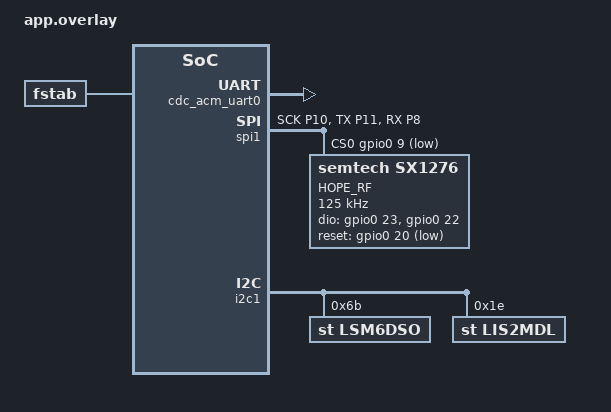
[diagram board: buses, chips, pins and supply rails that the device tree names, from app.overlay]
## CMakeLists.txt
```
cmake_minimum_required(VERSION 3.20.0)
set(BOARD rpi_pico)
find_package(Zephyr REQUIRED HINTS $ENV{ZEPHYR_BASE})
project(pleiades-zephyr)
target_sources(app PRIVATE src/main.c src/sensor.c src/lora_radio.c src/usb_serial.c)
```

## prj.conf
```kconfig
CONFIG_USB_DEVICE_STACK=y
CONFIG_USB_DEVICE_PRODUCT="Pleiades Flight Board"
CONFIG_USB_DEVICE_VID=0x0028

CONFIG_SERIAL=y
CONFIG_CONSOLE=y

CONFIG_UART_CONSOLE=y
CONFIG_UART_LINE_CTRL=y

CONFIG_SPI=y

CONFIG_LORA=y
CONFIG_LORA_SX127X=y

CONFIG_FLASH=y
CONFIG_FLASH_RPI_PICO=y
CONFIG_FLASH_MAP=y
CONFIG_FILE_SYSTEM=y
CONFIG_FILE_SYSTEM_LITTLEFS=y

CONFIG_I2C=y

CONFIG_SENSOR=y
CONFIG_LSM6DSO=y
CONFIG_LSM6DSO_ENABLE_TEMP=y
CONFIG_LIS2MDL=y

CONFIG_ZBUS=y

CONFIG_MAIN_STACK_SIZE=2048
CONFIG_SYSTEM_WORKQUEUE_STACK_SIZE=2048
CONFIG_HEAP_MEM_POOL_SIZE=16384
CONFIG_NEWLIB_LIBC=y
CONFIG_NEWLIB_LIBC_FLOAT_PRINTF=y
CONFIG_CBPRINTF_FP_SUPPORT=y

CONFIG_LOG=y
CONFIG_LOG_DEFAULT_LEVEL=3
CONFIG_DEBUG=y
CONFIG_DEBUG_THREAD_INFO=n
CONFIG_THREAD_ANALYZER_USE_PRINTK=n
CONFIG_THREAD_ANALYZER_AUTO=n
CONFIG_THREAD_ANALYZER_AUTO_INTERVAL=5
CONFIG_THREAD_ANALYZER=n

CONFIG_SHELL=y
CONFIG_FLASH_SHELL=y
CONFIG_FILE_SYSTEM_SHELL=y
CONFIG_LOG_BACKEND_FS=y
```

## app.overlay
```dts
/ {
	chosen {
		zephyr,shell-uart = &cdc_acm_uart0;
	};
};

&zephyr_udc0 {
	cdc_acm_uart0: cdc_acm_uart0 {
		compatible = "zephyr,cdc-acm-uart";
		label = "CDC_ACM_0";
	};
};

&spi1 {
	status = "okay";
	cs-gpios = <&gpio0 9 GPIO_ACTIVE_LOW>;
	pinctrl-0 = <&spi1_default>;
	pinctrl-names = "default";

	lora0: sx1276@0 {
		compatible = "semtech,sx1276";
		reg = <0>;
		spi-max-frequency = <125000>;
		dio-gpios = <&gpio0 23 (GPIO_PULL_DOWN | GPIO_ACTIVE_HIGH)>, <&gpio0 22 (GPIO_PULL_DOWN | GPIO_ACTIVE_HIGH)>;
		reset-gpios = <&gpio0 20 GPIO_ACTIVE_LOW>;
		power-amplifier-output = "pa-boost";
		label = "HOPE_RF";
	};
};

&pinctrl {
	spi1_default: spi1_default {
		group1 {
			pinmux = <SPI1_SCK_P10>, <SPI1_TX_P11>;
		};

		group2 {
			pinmux = <SPI1_RX_P8>;
			input-enable;
		};
	};
};

&i2c1 {
	status = "okay";
	pinctrl-0 = <&i2c1_default>;
	pinctrl-names = "default";

	lsm6dso0: lsm6dso0@6b {
		compatible = "st,lsm6dso";
		reg = <0x6b>;
		label = "LSM6DSO";
	};

	lis2mdl: lis2mdl@1e {
		compatible = "st,lis2mdl";
		reg = <0x1e>;
		label = "LIS2MDL";
	};
};

&pinctrl {
	i2c1_default: i2c1_default {
		group1 {
			pinmux = <I2C1_SCL_P3>, <I2C1_SDA_P2>;
		};
	};
};

&flash0 {
	reg = <0x10000000 DT_SIZE_M(16)>; // Defines 16 MB flash

	partitions {
		compatible = "fixed-partitions";
		#address-cells = <1>;
		#size-cells = <1>;

		/* Reserved memory for the second stage bootloader */
		second_stage_bootloader: partition@0 {
			label = "second_stage_bootloader";
			reg = <0x00000000 0x100>; // 256 bytes for bootloader
			read-only;
		};

		/* Code Partition */
		code_partition: partition@100 {
			label = "code_partition";
			reg = <0x100 (DT_SIZE_M(16) - DT_SIZE_M(15) - 0x100)>; // Code partition after bootloader
		};

		/* Storage Partition with littlefs */
		storage_partition: partition@f10000 {
			label = "storage";
			reg = <0xF10000 DT_SIZE_M(15)>; // 15 MB for storage starting at the last part
			compatible = "littlefs"; // Declares compatibility with littlefs
		};
	};
};

/ {
	fstab {
		compatible = "zephyr,fstab";

		lfs1: lfs1 {
			compatible = "zephyr,fstab,littlefs";
			mount-point = "/lfs";
			partition = <&storage_partition>;
			automount;
			read-size = <16>;
			prog-size = <16>;
			cache-size = <64>;
			lookahead-size = <32>;
			block-cycles = <512>;
		};
	};
};
```

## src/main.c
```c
#include <zephyr/kernel.h>
#include <zephyr/sys/printk.h>
#include <zephyr/logging/log.h>
#include <zephyr/shell/shell.h>
#include <zephyr/device.h>
#include <zephyr/drivers/flash.h>
#include <zephyr/zbus/zbus.h>
#include "usb_serial.h"
#include "lora_radio.h"
#include "sensor.h"
LOG_MODULE_REGISTER(main);

#define USB_STACK_SIZE 1024
#define LORA_STACK_SIZE 1024
#define SENSOR_STACK_SIZE 1024

K_THREAD_STACK_DEFINE(usb_stack_area, USB_STACK_SIZE);
K_THREAD_STACK_DEFINE(lora_stack_area, LORA_STACK_SIZE);
K_THREAD_STACK_DEFINE(sensor_stack_area, SENSOR_STACK_SIZE);

struct k_thread usb_thread_data;
struct k_thread lora_thread_data;
struct k_thread sensor_thread_data;

void main(void)
{
    printk("Starting main loop with threads...\n");

    k_thread_create(&usb_thread_data, usb_stack_area, K_THREAD_STACK_SIZEOF(usb_stack_area),
                    usb_serial_thread, NULL, NULL, NULL, 5, 0, K_NO_WAIT);

    k_thread_create(&lora_thread_data, lora_stack_area, K_THREAD_STACK_SIZEOF(lora_stack_area),
                    lora_radio_thread, NULL, NULL, NULL, 5, 0, K_NO_WAIT);

    k_thread_create(&sensor_thread_data, sensor_stack_area, K_THREAD_STACK_SIZEOF(sensor_stack_area),
                    sensor_thread, NULL, NULL, NULL, 5, 0, K_NO_WAIT);

    // while (true) {
    //     struct sensor_data sensor_data_channel_msg;
    //     zbus_chan_read(&sensor_data_chan, &sensor_data_channel_msg,K_MSEC(500));
    //     printk("Accel: %f %f %f\n", sensor_data_channel_msg.accel_x, sensor_data_channel_msg.accel_y, sensor_data_channel_msg.accel_z);
    //     printk("Gyro: %f %f %f\n", sensor_data_channel_msg.gyro_x, sensor_data_channel_msg.gyro_y, sensor_data_channel_msg.gyro_z);
    //     printk("Mag: %f %f %f\n", sensor_data_channel_msg.mag_x, sensor_data_channel_msg.mag_y, sensor_data_channel_msg.mag_z);
    //     printk("Temp: %f\n", sensor_data_channel_msg.temp);
    // }
}
```

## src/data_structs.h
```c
#ifndef DATA_STRUCTS_H
#define DATA_STRUCTS_H

#include <zephyr/zbus/zbus.h>

struct satellite_status {
    int reboot_count;
    bool face0;
    bool face1;
    bool face2;
    bool face3;
    bool face4;
};

struct sensor_data {
    float accel_x;
    float accel_y;
    float accel_z;
    float gyro_x;
    float gyro_y;
    float gyro_z;
    float mag_x;
    float mag_y;
    float mag_z;
    float temp;
};

#endif //DATA_STRUCTS_H
```

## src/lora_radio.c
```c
#include "lora_radio.h"
#include <stdio.h>
#include <string.h>
#include <zephyr/kernel.h>
#include <zephyr/drivers/lora.h>
#include <zephyr/logging/log.h>
#include <zephyr/zbus/zbus.h>
#include "data_structs.h"

static const struct device *lora_dev;

int enable_rx() {
    struct lora_modem_config config;
    config.frequency = 437400000;
    config.bandwidth = BW_125_KHZ;
    config.datarate = SF_8;
    config.preamble_len = 8;
    config.coding_rate = CR_4_5;
    config.tx_power = 4;
    config.iq_inverted = false;
    config.public_network = false;
    config.tx = false;

    const int ret = lora_config(lora_dev, &config);

    return ret;
}

int enable_tx() {
    struct lora_modem_config config;
    config.frequency = 437400000;
    config.bandwidth = BW_125_KHZ;
    config.datarate = SF_8;
    config.preamble_len = 8;
    config.coding_rate = CR_4_5;
    config.tx_power = 4;
    config.iq_inverted = false;
    config.public_network = false;
    config.tx = true;

    const int ret = lora_config(lora_dev, &config);
    return ret;
}

int lora_radio_init(void) {
    struct lora_modem_config config;
    lora_dev = DEVICE_DT_GET_ONE(semtech_sx1276);
    if (!device_is_ready(lora_dev)) {
        printk("LoRa device not ready\n");
        return -1;
    }

    int ret = enable_rx();
    printk("LoRa Radio Initialized\n");
    return ret;
}

void lora_receive_cb(const struct device *dev, uint8_t *data, uint16_t size,
                     int16_t rssi, int8_t snr) {
    ARG_UNUSED(dev);
    ARG_UNUSED(size);
    printk("LoRa RX RSSI: %d dBm, SNR: %d dB", rssi, snr);
    LOG_HEXDUMP_INF(data, size, "LoRa RX payload");
}


int lora_send_data(uint8_t *data, uint16_t size) {
    int ret;

    // Disable async receive callback before sending
    ret = lora_recv_async(lora_dev, NULL);
    if (ret < 0) {
        printk("Failed to disable LoRa async receive: %d\n", ret);
        return ret;
    }

    ret = enable_tx();
    if (ret < 0) {
        printk("Failed to enable TX mode: %d\n", ret);
        return ret;
    }

    ret = lora_send(lora_dev, data, size);
    if (ret < 0) {
        printk("Failed to send LoRa packet: %d\n", ret);
        return ret;
    }

    ret = enable_rx();
    if (ret < 0) {
        printk("Failed to enable RX mode: %d\n", ret);
        return ret;
    }

    ret = lora_recv_async(lora_dev, lora_receive_cb);
    if (ret < 0) {
        printk("Failed to reinitialize LoRa async receive: %d\n", ret);
        return ret;
    }

    printk("LoRa data sent successfully, RX mode restored\n");
    return 0;
}

void lora_radio_thread(void *p1, void *p2, void *p3) {
    int ret = lora_radio_init();
    if (ret != 0) {
        printk("Failed to initialize LoRa radio\n");
        return;
    }
    ret = lora_recv_async(lora_dev, lora_receive_cb);
}
```

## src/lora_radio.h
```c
#ifndef LORA_RADIO_H
#define LORA_RADIO_H

void lora_radio_thread(void *p1, void *p2, void *p3);

#endif // LORA_RADIO_H
```

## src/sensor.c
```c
#include <zephyr/drivers/sensor.h>
#include <zephyr/kernel.h>
#include <zephyr/zbus/zbus.h>
#include "data_structs.h"

static const struct device *lsm6dso_dev;
static const struct device *lis2mdl_dev;

ZBUS_CHAN_DEFINE(sensor_data_chan, struct sensor_data, NULL, NULL, ZBUS_OBSERVERS_EMPTY, ZBUS_MSG_INIT(0));

float out_ev(struct sensor_value *val)
{
    return (val->val1 + (float)val->val2 / 1000000);
}

int lsm6dso_init(void) {
    lsm6dso_dev = DEVICE_DT_GET_ONE(st_lsm6dso);
    if (!device_is_ready(lsm6dso_dev)) {
        printk("LSM6DSO device not ready\n");
        return -1;
    }

    int ret = 0;
    struct sensor_value odr_attr;

    odr_attr.val1 = 12;
    odr_attr.val2 = 500000; // 12.5 Hz

    ret = sensor_attr_set(lsm6dso_dev, SENSOR_CHAN_ACCEL_XYZ,
            SENSOR_ATTR_SAMPLING_FREQUENCY, &odr_attr);
    if (ret != 0) {
        printk("Cannot set sampling frequency for accelerometer.\n");
        return ret;
    }

    ret = sensor_attr_set(lsm6dso_dev, SENSOR_CHAN_GYRO_XYZ,
            SENSOR_ATTR_SAMPLING_FREQUENCY, &odr_attr);
    if (ret != 0) {
        printk("Cannot set sampling frequency for gyro.\n");
        return ret;
    }
    printk("LSM6DSO device ready\n");
    return 0;
}

int lis2mdl_init(void) {
    lis2mdl_dev = device_get_binding("LIS2MDL");
    if (!lis2mdl_dev) {
        printk("LIS2MDL device not found\n");
        return -1;
    }

    if (!device_is_ready(lis2mdl_dev)) {
        printk("LIS2MDL device not ready\n");
        return -1;
    }
    printk("LIS2MDL device ready\n");
    return 0;
}

void sensor_thread(void *p1, void *p2, void *p3)
{
    int ret = 0;
    ret = lsm6dso_init();
    if (ret != 0) return;

    ret = lis2mdl_init();
    if (ret != 0) return;

    struct sensor_value x, y, z, temp;
    struct sensor_data sensor_payload;

    while (1) {
        // Fetch accelerometer data
        sensor_sample_fetch_chan(lsm6dso_dev, SENSOR_CHAN_ACCEL_XYZ);
        sensor_channel_get(lsm6dso_dev, SENSOR_CHAN_ACCEL_X, &x);
        sensor_channel_get(lsm6dso_dev, SENSOR_CHAN_ACCEL_Y, &y);
        sensor_channel_get(lsm6dso_dev, SENSOR_CHAN_ACCEL_Z, &z);

        sensor_payload.accel_x = out_ev(&x);
        sensor_payload.accel_y = out_ev(&y);
        sensor_payload.accel_z = out_ev(&z);

        // Fetch gyroscope data
        sensor_sample_fetch_chan(lsm6dso_dev, SENSOR_CHAN_GYRO_XYZ);
        sensor_channel_get(lsm6dso_dev, SENSOR_CHAN_GYRO_X, &x);
        sensor_channel_get(lsm6dso_dev, SENSOR_CHAN_GYRO_Y, &y);
        sensor_channel_get(lsm6dso_dev, SENSOR_CHAN_GYRO_Z, &z);

        sensor_payload.gyro_x = out_ev(&x);
        sensor_payload.gyro_y = out_ev(&y);
        sensor_payload.gyro_z = out_ev(&z);

        // Fetch magnetometer data
        sensor_sample_fetch_chan(lis2mdl_dev, SENSOR_CHAN_MAGN_XYZ);
        sensor_channel_get(lis2mdl_dev, SENSOR_CHAN_MAGN_X, &x);
        sensor_channel_get(lis2mdl_dev, SENSOR_CHAN_MAGN_Y, &y);
        sensor_channel_get(lis2mdl_dev, SENSOR_CHAN_MAGN_Z, &z);

        sensor_payload.mag_x = out_ev(&x);
        sensor_payload.mag_y = out_ev(&y);
        sensor_payload.mag_z = out_ev(&z);

        // Fetch temperature data
        sensor_sample_fetch_chan(lsm6dso_dev, SENSOR_CHAN_DIE_TEMP);
        sensor_channel_get(lsm6dso_dev, SENSOR_CHAN_DIE_TEMP, &temp);

        sensor_payload.temp = out_ev(&temp);

        // Publish sensor data to zbus channel
        ret = zbus_chan_pub(&sensor_data_chan, &sensor_payload, K_NO_WAIT);
        if (ret != 0) {
            printk("Failed to publish sensor data (error: %d)\n", ret);
        } else {
            printk("Published sensor data: accel_x=%.2f, accel_y=%.2f, accel_z=%.2f\n",
                   sensor_payload.accel_x, sensor_payload.accel_y, sensor_payload.accel_z);
        }

        k_sleep(K_SECONDS(1));
    }
}
```

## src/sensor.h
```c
#ifndef SENSOR_H
#define SENSOR_H

void sensor_thread(void *p1, void *p2, void *p3);

#endif
```

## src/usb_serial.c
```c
#include "usb_serial.h"
#include <zephyr/kernel.h>
#include <zephyr/sys/printk.h>
#include <zephyr/usb/usb_device.h>
#include <zephyr/drivers/uart.h>

static const struct device *usb_device;

int serial_init(void)
{
    uint32_t dtr = 0;

    usb_device = DEVICE_DT_GET(DT_CHOSEN(zephyr_console));

    if (usb_enable(NULL) != 0) {
        printk("Failed to enable USB\n");
        return -1;
    }

    while (!dtr) {
        uart_line_ctrl_get(usb_device, UART_LINE_CTRL_DTR, &dtr);
        k_sleep(K_MSEC(100));
    }

    printk("USB Serial Initialized\n");
    return 0;
}

void usb_serial_thread(void *p1, void *p2, void *p3)
{
    int ret = serial_init();
    if (ret != 0) {
        printk("USB Serial initialization failed\n");
        return;
    }

    printk("USB Serial Initialized successfully\n");
}
```

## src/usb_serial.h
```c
#ifndef USB_SERIAL_H
#define USB_SERIAL_H

void usb_serial_thread(void *p1, void *p2, void *p3);

#endif
```
